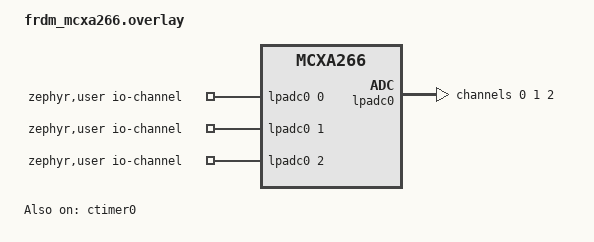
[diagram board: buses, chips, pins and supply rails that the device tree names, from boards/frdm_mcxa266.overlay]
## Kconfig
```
# Copyright 2025 NXP
# SPDX-License-Identifier: Apache-2.0

mainmenu "Safety iec60730b sample application"

menu "Application Safety Configuration"

menu "Safety test thread configuration"

config APP_SAFETY_THREAD_STACK_SIZE
	int "Safety test thread stack size"
	default 1024
	help
	  Stack size in bytes for the safety test thread.
	  This thread runs periodic safety tests and monitors system health.
	  Increase this value if the safety tests require more stack space.

config APP_SAFETY_THREAD_PRIORITY
	int "Safety test thread priority"
	default -16
	help
	  Priority level for the safety test thread.
	  Lower values indicate higher priority.
	  By default set to the absolute highest priority -16 for critical safety functions.

config APP_SAFETY_PERIOD_MS
	int "Safety test execution period in milliseconds"
	default 1000
	help
	  Time period in milliseconds between safety test executions.
	  This determines how frequently the safety tests are run.
	  Shorter periods provide faster error detection but consume more CPU.
	  Longer periods reduce CPU usage but may delay error detection.

menuconfig APP_SAFETY_TASK_WATCHDOG
    bool "Safety Task Watchdog"
    default y
    select TASK_WDT
    select WATCHDOG
    help
      Enable task watchdog for safety monitoring. The task watchdog
      monitors the safety test thread and triggers a callback if
      the thread fails to feed the watchdog within the specified timeout.
      This provides an additional safety mechanism to detect thread
      failures or system hangs.

if APP_SAFETY_TASK_WATCHDOG

config APP_SAFETY_TASK_WATCHDOG_TIMEOUT_MS
    int "Task watchdog timeout in milliseconds"
    default 10000
    help
      Timeout value for the safety task watchdog in milliseconds.
      This should be larger than CONFIG_APP_SAFETY_TESTS_PERIOD_MS
      to allow for test execution time. If the safety thread doesn't
      feed the watchdog within this time, the callback will be triggered.

config TASK_WDT_MIN_TIMEOUT
    int "Minimum task watchdog timeout in milliseconds"
    default 500
    help
      Minimum timeout value accepted by the task watchdog channel.
      Required by the wdt_mcux_wdog hardware watchdog driver backend.
      Minum 500 is required by wdt_mcux_wdog driver.

endif # APP_SAFETY_TASK_WATCHDOG

endmenu # Safety test thread configuration

choice APP_SAFETY_ERROR_ACTION
	prompt "Safety Error Action"
	default APP_SAFETY_ERROR_ACTION_INFINITE_LOOP
	help
	  Select the action to take when a safety error is detected.

config APP_SAFETY_ERROR_ACTION_INFINITE_LOOP
	bool "Infinite Loop"
	help
	  When a safety error is detected, disable interrupts and enter an infinite loop,
	  The system will be stuck in a loop, preventing further execution
	  while maintaining processor activity. This can be useful for
	  debugging or when a controlled hang is preferred over a no action.

config APP_SAFETY_ERROR_ACTION_RESET
	bool "System Reset"
	help
	  When a safety error is detected, immediately perform a cold system reset.
	  This allows for quick recovery from safety violations.

endchoice

if IEC60730B_TEST_RAM

menu "RAM Test Configuration"

config APP_SAFETY_TEST_RAM_BUFFER_SIZE
	int "Safety RAM test buffer size in bytes"
	default 1024
	help
	  Size of the RAM buffer used for safety RAM testing.
	  This buffer is used to perform RAM integrity tests according to IEC60730B.

config APP_SAFETY_TEST_RAM_BACKUP_BUFFER_SIZE
	int "Safety RAM test backup buffer size in bytes"
	default 32
	help
	  Size of the backup buffer used during RAM safety testing.
	  This buffer stores the original data while the main buffer is being tested.

endmenu # RAM Test Configuration

endif # IEC60730B_TEST_RAM

if IEC60730B_TEST_STACK

menu "Stack Test Configuration"

config APP_SAFETY_TEST_STACK_GUARD_SIZE
	int "Stack test guard size for overflow detection"
	default 128
	help
	  Size in bytes of the guard areas placed before and after the stack
	  for overflow detection. The guard areas are filled with a test pattern
	  to detect stack overflow conditions.
	  Must be aligned to pointer size (4 bytes).

config APP_SAFETY_TEST_STACK_GUARD_PATTERN
	hex "Stack test gaurd pattern for overflow detection"
	default 0xA5A5A5A5
	help
	  32-bit pattern used to fill stack guard areas for overflow detection.
	  The pattern should be chosen to be easily detectable when corrupted
	  and unlikely to occur naturally in normal program execution.

endmenu # Stack Test Configuration

endif # IEC60730B_TEST_STACK

config APP_SAFETY_LOG_LEVEL
	int "Safety tests log level"
	default 3
	range 0 4
	depends on LOG
	help
	  Sets the log level for the safety tests module.
	  Levels: 0=OFF, 1=ERROR, 2=WARNING, 3=INFO, 4=DEBUG

config APP_MAIN_LOG_LEVEL
	int "Main application log level"
	default 3
	range 0 4
	depends on LOG
	help
	  Sets the log level for the safety tests module.
	  Levels: 0=OFF, 1=ERROR, 2=WARNING, 3=INFO, 4=DEBUG

config APP_MAIN_SLEEP_TIME_MS
	int "Main thread sleep time in milliseconds"
	default 1000
	help
	  Time in milliseconds that the main thread sleeps between iterations.

endmenu # Application Safety Configuration

menu "Zephyr Kernel Configuration"

source "Kconfig.zephyr"

endmenu # Zephyr Kernel Configuration
```

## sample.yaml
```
sample:
  name: Safety iec60730b Sample
tests:
  sample.iec60730b.safety:
    tags:
      - safety
    integration_platforms:
      - frdm_mcxa156
      - frdm_mcxa266
      - frdm_mcxa344
      - frdm_mcxc444
      - frdm_mcxn947/mcxn947/cpu0
      - frdm_mcxn236
      - frdm_imxrt1186/mimxrt1186/cm33
      - frdm_rw612
      - mimxrt1170_evk/mimxrt1176/cm7
```

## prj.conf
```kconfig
# Enable GPIO driver support, used by the blinky sample
CONFIG_GPIO=y

# Enable IEC 60730 Class B safety library
CONFIG_IEC60730B=y

# Enable logging
CONFIG_LOG=y
CONFIG_LOG_MODE_IMMEDIATE=y
CONFIG_LOG_BACKEND_SHOW_TIMESTAMP=n
CONFIG_LOG_BACKEND_SHOW_LEVEL=n

# You can enable test debug logs
#CONFIG_IEC60730B_TEST_CLOCK_LOG_LEVEL=4
#CONFIG_IEC60730B_TEST_WDOG_LOG_LEVEL=4
#CONFIG_WDT_LOG_LEVEL_DBG=y

# Enable thread monitoring for debugger RTOS view support
CONFIG_THREAD_MONITOR=y
CONFIG_THREAD_NAME=y
CONFIG_THREAD_STACK_INFO=y
CONFIG_THREAD_RUNTIME_STATS=y
CONFIG_INIT_STACKS=y
CONFIG_DEBUG_THREAD_INFO=y

# You can disable Watchdog and Clock test to prevent fail during debugging
#CONFIG_APP_SAFETY_TASK_WATCHDOG=n
#CONFIG_IEC60730B_TEST_CLOCK=n
#CONFIG_IEC60730B_TEST_WDOG=n

# You can use Zephyr HAL
#CONFIG_IEC60730B_HAL_ZEPHYR=y
```

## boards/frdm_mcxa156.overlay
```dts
/*
 * Copyright 2025 NXP
 *
 * SPDX-License-Identifier: Apache-2.0
 */
/ {
	aliases {
		test-counter = &lptmr0;
	};
};

&lptmr0 {
	status = "okay";
};
```

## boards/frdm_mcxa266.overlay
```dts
/*
 * Copyright 2025 NXP
 *
 * SPDX-License-Identifier: Apache-2.0
 */
/{
	aliases {
		test-counter = &ctimer0;
	};

	zephyr,user {
		io-channels = <&lpadc0 0>, <&lpadc0 1>, <&lpadc0 2>;
	};
};

&ctimer0 {
	status = "okay";
};

&lpadc0 {
	status = "okay";
	#address-cells = <1>;
	#size-cells = <0>;

	/* adc channel internal Voltage Low */
	channel_adc_vl: channel@0 {
		reg = <0>;
		zephyr,gain = "ADC_GAIN_1";
		zephyr,reference = "ADC_REF_EXTERNAL0";
		zephyr,vref-mv = <3300>;
		zephyr,acquisition-time = <0>;//ADC_ACQ_TIME_DEFAULT
		zephyr,resolution = <16>;//<12>;
		zephyr,input-positive = <24>;
	};

	/* adc channel internal Voltage High/4 */
	channel_adc_vh: channel@1 {
		reg = <1>;
		zephyr,gain = "ADC_GAIN_1";
		zephyr,reference = "ADC_REF_EXTERNAL0";
		zephyr,vref-mv = <3300>;
		zephyr,acquisition-time = <0>;//ADC_ACQ_TIME_DEFAULT
		zephyr,resolution = <16>;//<12>;
		zephyr,input-positive = <29>;
	};

	/* adc channel internal Band Gap voltage */
	channel_adc_bg: channel@2 {
		reg = <2>;
		zephyr,gain = "ADC_GAIN_1";
		zephyr,reference = "ADC_REF_EXTERNAL0";
		zephyr,vref-mv = <3300>;
		zephyr,acquisition-time = <0>;//ADC_ACQ_TIME_DEFAULT
		zephyr,resolution = <16>;//<12>;
		zephyr,input-positive = <27>;
	};
};
```

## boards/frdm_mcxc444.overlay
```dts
/*
 * Copyright 2025 NXP
 *
 * SPDX-License-Identifier: Apache-2.0
 */
/ {
	aliases {
		test-counter = &lptmr0;
	};
};

&lptmr0 {
	status = "okay";
};

/* COP does not support run-time configuration, so disable it */
&cop {
	status = "disabled";
};
```

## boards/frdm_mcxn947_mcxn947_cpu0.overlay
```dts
/*
 * Copyright 2025 NXP
 *
 * SPDX-License-Identifier: Apache-2.0
 */
/ {
	aliases {
		test-counter = &ctimer0;
	};
};

&ctimer0 {
	status = "okay";
};
```

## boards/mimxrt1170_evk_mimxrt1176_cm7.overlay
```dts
/*
 * Copyright 2025 NXP
 *
 * SPDX-License-Identifier: Apache-2.0
 */
/ {
	aliases {
		test-counter = &gpt2;
	};
};

&gpt2 {
	status = "okay";
};
```

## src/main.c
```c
/*
 * Copyright 2025 NXP
 * SPDX-License-Identifier: Apache-2.0
 *
 * This demo application:
 * - Configuring an LED as output and toggling it periodically.
 * - Configuring a button as input with interrupt handling.
 * - Printing status messages when button is pressed and LED state changes.
 */

#include <stdio.h>
#include <zephyr/kernel.h>
#include <zephyr/drivers/gpio.h>
#include <zephyr/logging/log.h>

/* Register safety_tests module for logging */
LOG_MODULE_REGISTER(main, CONFIG_APP_MAIN_LOG_LEVEL);

/* Get led configuration from the devicetree led0 alias. */
#define LED0_NODE DT_ALIAS(led0)
#if !DT_NODE_HAS_STATUS_OKAY(LED0_NODE)
#error "Unsupported board: led0 devicetree alias is not defined"
#endif
static const struct gpio_dt_spec led = GPIO_DT_SPEC_GET(LED0_NODE, gpios);

/* Get button configuration from the devicetree sw0 alias. */
#define SW0_NODE DT_ALIAS(sw0)
#if !DT_NODE_HAS_STATUS_OKAY(SW0_NODE)
#error "Unsupported board: sw0 devicetree alias is not defined"
#endif
static const struct gpio_dt_spec button = GPIO_DT_SPEC_GET(SW0_NODE, gpios);
static struct gpio_callback button_cb_data;

/* GPIO interrupt callback function for button press events. */
static void button_pressed(const struct device *dev, struct gpio_callback *cb, uint32_t pins)
{
	LOG_INF("Button pressed.");
}

/* System initialization hook for GPIO initialization, to ensure that pins are initialized before
 * safety runtime tests start */
static int main_task_gpio_init(void)
{
	int ret;

	if (!gpio_is_ready_dt(&led)) {
		LOG_ERR("Error: led device %s is not ready", led.port->name);
		return 0;
	}
	if (!gpio_is_ready_dt(&button)) {
		LOG_ERR("Error: button device %s is not ready", button.port->name);
		return 0;
	}

	ret = gpio_pin_configure_dt(&led, GPIO_OUTPUT_ACTIVE);
	if (ret < 0) {
		LOG_ERR("Error %d: failed to configure %s pin %d", ret, led.port->name, led.pin);
		return 0;
	}
	ret = gpio_pin_configure_dt(&button, GPIO_INPUT);
	if (ret != 0) {
		LOG_ERR("Error %d: failed to configure %s pin %d", ret, button.port->name,
			button.pin);
		return 0;
	}

	ret = gpio_pin_interrupt_configure_dt(&button, GPIO_INT_EDGE_TO_ACTIVE);
	if (ret != 0) {
		LOG_ERR("Error %d: failed to configure interrupt on %s pin %d", ret,
			button.port->name, button.pin);
		return 0;
	}

	gpio_init_callback(&button_cb_data, button_pressed, BIT(button.pin));
	gpio_add_callback(button.port, &button_cb_data);
	LOG_INF("Set up button at %s pin %d", button.port->name, button.pin);
	LOG_INF("Set up led at %s pin %d", led.port->name, led.pin);

	return 0;
}
SYS_INIT(main_task_gpio_init, POST_KERNEL, CONFIG_KERNEL_INIT_PRIORITY_DEFAULT);

int main(void)
{
	int ret;
	bool led_state = true;

	while (1) {
		ret = gpio_pin_toggle_dt(&led);
		if (ret < 0) {
			LOG_ERR("Error %d: gpio_pin_toggle_dt() is failed", ret);
			return 0;
		}

		led_state = !led_state;
		LOG_INF("LED state: %s", led_state ? "ON" : "OFF");
		k_msleep(CONFIG_APP_MAIN_SLEEP_TIME_MS);
	}
	return 0;
}
```

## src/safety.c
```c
/*
 * Copyright 2025-2026 NXP
 * SPDX-License-Identifier: Apache-2.0
 *
 * This demo application invokes safety tests according to IEC 60730 Class B.
 * The safety tests are executed in two phases:
 * 1. Startup tests: Critical tests performed during system initialization.
 * 2. Runtime tests: Periodic tests executed by a dedicated safety thread.
 */

#include <iec60730b_test.h>

#include <zephyr/kernel.h>
#include <zephyr/logging/log.h>
#include <zephyr/device.h>
#include <zephyr/drivers/watchdog.h>
#include <zephyr/drivers/gpio.h>
#include <zephyr/drivers/adc.h>
#include <zephyr/task_wdt/task_wdt.h>
#include <zephyr/sys/reboot.h>

/*******************************************************************************
 * Declarations
 ******************************************************************************/
static int safety_init(void);
static void safety_thread(void *arg1, void *arg2, void *arg3);
static void safety_error_handler(int error_code);
static void safety_startup_tests(void);
static void safety_rutime_tests(void);
#ifdef CONFIG_IEC60730B_TEST_AIO
static void enable_bandgap(void);
#endif

/* Register safety_tests module for logging */
LOG_MODULE_REGISTER(safety, CONFIG_APP_SAFETY_LOG_LEVEL);

/* System initialization hook for safety tests after reset. */
SYS_INIT(safety_init, APPLICATION /* POST_KERNEL */, CONFIG_KERNEL_INIT_PRIORITY_DEFAULT);

/*
 * Safety thread stack and creation configuration.
 *
 * When CONFIG_IEC60730B_TEST_STACK is enabled, creates a custom stack with guard zones
 * for stack overflow detection testing. The guard zones provide additional protection
 * by reserving memory before and after the actual thread stack.
 *
 * When disabled, uses the standard Zephyr thread definition macro for simpler
 * thread creation without custom stack management.
 */
#ifdef CONFIG_IEC60730B_TEST_STACK
static K_THREAD_STACK_DEFINE(safety_stack, (CONFIG_APP_SAFETY_THREAD_STACK_SIZE +
					    2 * CONFIG_APP_SAFETY_TEST_STACK_GUARD_SIZE));
#define SAFETY_THREAD_STACK &safety_stack[CONFIG_APP_SAFETY_TEST_STACK_GUARD_SIZE]
#define SAFETY_THREAD_STACK_SIZE                                                                   \
	(sizeof(safety_stack) - 2 * CONFIG_APP_SAFETY_TEST_STACK_GUARD_SIZE)
#define SAFETY_THREAD_STACK_WRITABLE_SIZE                                                          \
	(K_THREAD_STACK_SIZEOF(safety_stack) -                                                     \
	 2 * CONFIG_APP_SAFETY_TEST_STACK_GUARD_SIZE) /* Thread writable stack buffer size */

static struct k_thread safety_thread_data;
static void safety_thread_create(void)
{
	k_tid_t thread_id;

	thread_id = k_thread_create(&safety_thread_data, SAFETY_THREAD_STACK,
				    SAFETY_THREAD_STACK_WRITABLE_SIZE, safety_thread, NULL, NULL,
				    NULL, CONFIG_APP_SAFETY_THREAD_PRIORITY, 0,
				    K_MSEC(CONFIG_APP_SAFETY_PERIOD_MS));

	if (thread_id == NULL) {
		LOG_ERR("Failed to create safety thread");
		safety_error_handler(IEC60730B_TEST_ERROR);
	}

	k_thread_name_set(thread_id, "safety");
}
#else
/* Safety test thread definition and automatic startup configuration. */
K_THREAD_DEFINE(safety, CONFIG_APP_SAFETY_THREAD_STACK_SIZE, safety_thread, NULL, NULL, NULL,
		CONFIG_APP_SAFETY_THREAD_PRIORITY, 0, CONFIG_APP_SAFETY_PERIOD_MS);
#endif /* CONFIG_IEC60730B_TEST_STACK */

int safety_error_code; /* Global error code. */

#ifdef CONFIG_IEC60730B_TEST_RAM
uint8_t safety_test_ram_buffer[CONFIG_APP_SAFETY_TEST_RAM_BUFFER_SIZE] __aligned(4);
uint8_t safety_test_ram_backup_buffer[CONFIG_APP_SAFETY_TEST_RAM_BACKUP_BUFFER_SIZE] __aligned(4);
#endif /* CONFIG_IEC60730B_TEST_RAM */

#ifdef CONFIG_IEC60730B_TEST_FLASH
/* Flash test buffer 1024 bytes */
const uint32_t safety_test_flash_buffer[256] = {
	0x00000001, 0x00000002, 0x00000003, 0x00000004, 0x00000005, 0x00000006, 0x00000007,
	0x00000008, 0x00000009, 0x0000000A, 0x0000000B, 0x0000000C, 0x0000000D, 0x0000000E,
	0x0000000F, 0x00000010, 0x00000011, 0x00000012, 0x00000013, 0x00000014, 0x00000015,
	0x00000016, 0x00000017, 0x00000018, 0x00000019, 0x0000001A, 0x0000001B, 0x0000001C,
	0x0000001D, 0x0000001E, 0x0000001F, 0x00000020, 0x00000021, 0x00000022, 0x00000023,
	0x00000024, 0x00000025, 0x00000026, 0x00000027, 0x00000028, 0x00000029, 0x0000002A,
	0x0000002B, 0x0000002C, 0x0000002D, 0x0000002E, 0x0000002F, 0x00000030, 0x00000031,
	0x00000032, 0x00000033, 0x00000034, 0x00000035, 0x00000036, 0x00000037, 0x00000038,
	0x00000039, 0x0000003A, 0x0000003B, 0x0000003C, 0x0000003D, 0x0000003E, 0x0000003F,
	0x00000040, 0xAAAAAAAA, 0x55555555, 0xAAAAAAAA, 0x55555555, 0xAAAAAAAA, 0x55555555,
	0xAAAAAAAA, 0x55555555, 0xAAAAAAAA, 0x55555555, 0xAAAAAAAA, 0x55555555, 0xAAAAAAAA,
	0x55555555, 0xAAAAAAAA, 0x55555555, 0xAAAAAAAA, 0x55555555, 0xAAAAAAAA, 0x55555555,
	0xAAAAAAAA, 0x55555555, 0xAAAAAAAA, 0x55555555, 0xAAAAAAAA, 0x55555555, 0xAAAAAAAA,
	0x55555555, 0xAAAAAAAA, 0x55555555, 0xAAAAAAAA, 0x55555555, 0xAAAAAAAA, 0x55555555,
	0xAAAAAAAA, 0x55555555, 0xAAAAAAAA, 0x55555555, 0xAAAAAAAA, 0x55555555, 0xAAAAAAAA,
	0x55555555, 0xAAAAAAAA, 0x55555555, 0xAAAAAAAA, 0x55555555, 0xAAAAAAAA, 0x55555555,
	0xAAAAAAAA, 0x55555555, 0xAAAAAAAA, 0x55555555, 0xAAAAAAAA, 0x55555555, 0xAAAAAAAA,
	0x55555555, 0xAAAAAAAA, 0x55555555, 0xAAAAAAAA, 0x55555555, 0xAAAAAAAA, 0x55555555,
	0xAAAAAAAA, 0x55555555, 0x00000001, 0x00000002, 0x00000004, 0x00000008, 0x00000010,
	0x00000020, 0x00000040, 0x00000080, 0x00000100, 0x00000200, 0x00000400, 0x00000800,
	0x00001000, 0x00002000, 0x00004000, 0x00008000, 0x00010000, 0x00020000, 0x00040000,
	0x00080000, 0x00100000, 0x00200000, 0x00400000, 0x00800000, 0x01000000, 0x02000000,
	0x04000000, 0x08000000, 0x10000000, 0x20000000, 0x40000000, 0x80000000, 0x80000000,
	0x40000000, 0x20000000, 0x10000000, 0x08000000, 0x04000000, 0x02000000, 0x01000000,
	0x00800000, 0x00400000, 0x00200000, 0x00100000, 0x00080000, 0x00040000, 0x00020000,
	0x00010000, 0x00008000, 0x00004000, 0x00002000, 0x00001000, 0x00000800, 0x00000400,
	0x00000200, 0x00000100, 0x00000080, 0x00000040, 0x00000020, 0x00000010, 0x00000008,
	0x00000004, 0x00000002, 0x00000001, 0x12345678, 0x9ABCDEF0, 0x13579BDF, 0x2468ACE0,
	0xFEDCBA98, 0x76543210, 0x89ABCDEF, 0x01234567, 0x87654321, 0x0FEDCBA9, 0x13572468,
	0xACE02468, 0x97531BDF, 0x86420ECA, 0x75319FDB, 0x64208EC9, 0x53107FD8, 0x42096EC7,
	0x31085FD6, 0x20074EC5, 0x10963FD4, 0x09852EC3, 0x08741FD2, 0x07630EC1, 0x06521FD0,
	0x05410ECF, 0x04309FDE, 0x03208ECD, 0x02107FDC, 0x01096ECB, 0x00985FDA, 0x00874EC9,
	0x00763FD8, 0x00652EC7, 0x00541FD6, 0x00430EC5, 0x00329FD4, 0x00218EC3, 0x00107FD2,
	0x00096EC1, 0x00085FD0, 0x00074ECF, 0x00063FDE, 0x00052ECD, 0x00041FDC, 0x00030ECB,
	0x00029FDA, 0x00018EC9, 0x00007FD8, 0x00006EC7, 0x00005FD6, 0x00004EC5, 0x00003FD4,
	0x00002EC3, 0x00001FD2, 0x00000EC1, 0x0000FD0F, 0x0000ECFE, 0x0000DFED, 0x0000CEDC,
	0x0000BDCB, 0x0000ACBA, 0x00009BA9, 0x00008A98};

/* Pre-calculated CRC values for the test buffer */
#ifdef CONFIG_IEC60730B_TEST_FLASH_CRC32
#define SAFETY_TEST_FLASH_BUFFER_CRC32 (0x228B7931)
#endif
#ifdef CONFIG_IEC60730B_TEST_FLASH_CRC16
#define SAFETY_TEST_FLASH_BUFFER_CRC16 (0x00F9)
#endif
#endif /* CONFIG_IEC60730B_TEST_FLASH */

#ifdef CONFIG_IEC60730B_TEST_DIO
/* Use the sw0 button configured in main.c */
static const struct gpio_dt_spec test_gpio_input = GPIO_DT_SPEC_GET(DT_ALIAS(sw0), gpios);
/* Use the led0 configured in main.c */
static const struct gpio_dt_spec test_gpio_output = GPIO_DT_SPEC_GET(DT_ALIAS(led0), gpios);
#endif /* CONFIG_IEC60730B_TEST_DIO */

#if defined(CONFIG_IEC60730B_TEST_CLOCK) || defined(CONFIG_IEC60730B_TEST_WDOG)
/* Counter device for clock frequency testing */
static const struct device *test_reference_counter = DEVICE_DT_GET_OR_NULL(DT_ALIAS(test_counter));
#endif /* CONFIG_IEC60730B_TEST_CLOCK */

#ifdef CONFIG_IEC60730B_TEST_AIO
#if !DT_NODE_EXISTS(DT_PATH(zephyr_user)) || !DT_NODE_HAS_PROP(DT_PATH(zephyr_user), io_channels)
static const struct device *test_adc[] = {NULL, NULL, NULL};
static struct iec60730b_adc_channel channel[] = {{0}, {0}, {0}};
static void enable_bandgap(void)
{
	/* Bandgap enabling not supported on this platform */
}
#else
static const struct adc_dt_spec adc_channels[] = {
	/* Channel from DT connected to Low Voltage typically GND (0V) */
	ADC_DT_SPEC_GET_BY_IDX(DT_PATH(zephyr_user), 0),
	/* Channel from DT connected to High Voltage typically 3.3V */
	ADC_DT_SPEC_GET_BY_IDX(DT_PATH(zephyr_user), 1),
	/* Channel from DT connected to BandGap Voltage typically 1.65V */
	ADC_DT_SPEC_GET_BY_IDX(DT_PATH(zephyr_user), 2),
};
static const struct device *test_adc[] = {adc_channels[0].dev, adc_channels[1].dev,
					  adc_channels[2].dev};
static struct iec60730b_adc_channel channel[] = {
	{
		.channel_cfg = adc_channels[0].channel_cfg,
		.vref_mv = adc_channels[0].vref_mv,
		.resolution = adc_channels[0].resolution,
		.allowed_deviation = 5U, /* allowed % of ADC max */
	},
	{
		.channel_cfg = adc_channels[1].channel_cfg,
		.vref_mv = adc_channels[1].vref_mv,
		.resolution = adc_channels[1].resolution,
		.allowed_deviation = 5U, /* allowed % of ADC max */
	},
	{
		.channel_cfg = adc_channels[2].channel_cfg,
		.vref_mv = adc_channels[2].vref_mv,
		.resolution = adc_channels[2].resolution,
		.allowed_deviation = 5U, /* allowed % of ADC max */
	}};
#if CONFIG_DT_HAS_NXP_SPC_ENABLED
/*
 * SDK driver for System-Power-Control needed for using bandgap control.
 */
#include "fsl_spc.h"
/*
 * Enable bandgap voltage reference needed for AIO Test,
 * as one of the measured channel is internal bandgap voltage reference.
 */
static void enable_bandgap(void)
{
	/* Check if SPC instance is valid */
	if (SPC0 != NULL) {
		/* Enable bandgap in active mode with buffer enabled - more stable voltage */
		SPC_SetActiveModeBandgapModeConfig(SPC0, kSPC_BandgapEnabledBufferEnabled);
	}
}
#else
static void enable_bandgap(void)
{
	/* Bandgap enabling not supported on this platform */
}
#endif /* CONFIG_DT_HAS_NXP_SPC_ENABLED */
#endif
#endif /* CONFIG_IEC60730B_TEST_AIO */

#if CONFIG_IEC60730B_TEST_WDOG || CONFIG_APP_SAFETY_TASK_WATCHDOG
/* Watchdog device for watchdog testing */
static const struct device *const test_wdog = DEVICE_DT_GET_OR_NULL(DT_ALIAS(watchdog0));
#endif /* CONFIG_IEC60730B_TEST_WDOG || CONFIG_APP_SAFETY_TASK_WATCHDOG */

/* Task watchdog */
#ifdef CONFIG_APP_SAFETY_TASK_WATCHDOG
static void safety_task_wdt_callback(int channel_id, void *user_data);
static int safety_task_wdt_id = -1;
#endif /* CONFIG_APP_SAFETY_TASK_WATCHDOG */

/*******************************************************************************
 * Code
 ******************************************************************************/

/*
 *  Safety initialization function executed during system startup.
 */
static int safety_init(void)
{
	LOG_INF("Perform startup safety tests:");
	safety_startup_tests();

#ifdef CONFIG_IEC60730B_TEST_STACK
	safety_thread_create();
#endif

	return 0;
}

#ifdef CONFIG_APP_SAFETY_TASK_WATCHDOG
/*
 * Safety task watchdog initialization function executed during system startup.
 */
static void safety_task_wdt_init(void)
{
	int result;

	if (!device_is_ready(test_wdog)) {
		LOG_WRN("Hardware watchdog not ready");
		result = task_wdt_init(NULL);
	} else {
		result = task_wdt_init(test_wdog);
	}

	if (result != 0) {
		LOG_ERR("task wdt init failure: %d\n", result);
		safety_error_handler(IEC60730B_TEST_ERROR);
	}

	/* Add a new task watchdog channel with the safety callback function */
	safety_task_wdt_id = task_wdt_add(CONFIG_APP_SAFETY_TASK_WATCHDOG_TIMEOUT_MS,
					  safety_task_wdt_callback, NULL);
	if (safety_task_wdt_id < 0) {
		LOG_ERR("Failed to add task WDT channel");
		safety_error_handler(IEC60730B_TEST_ERROR);
	}
	LOG_INF("Task WDT channel %d added with timeout %d ms", safety_task_wdt_id,
		CONFIG_APP_SAFETY_TASK_WATCHDOG_TIMEOUT_MS);
}

/*
 * Callback function for task watchdog timeout events.
 */
static void safety_task_wdt_callback(int channel_id, void *user_data)
{
	ARG_UNUSED(user_data);
	LOG_WRN("Task watchdog channel %d timeout", channel_id);

	safety_error_handler(IEC60730B_TEST_WDT_ERROR);
}
#endif /* CONFIG_APP_SAFETY_TASK_WATCHDOG */

/*
 * Safety test thread function that executes periodic runtime safety tests.
 */
static void safety_thread(void *arg1, void *arg2, void *arg3)
{
	ARG_UNUSED(arg1);
	ARG_UNUSED(arg2);
	ARG_UNUSED(arg3);

	LOG_INF("Safety test thread started");

	/* Thread function runs indefinitely */
	while (1) {
		/* Perform runtime safety tests */
		safety_rutime_tests();

		/* Sleep before next iteration */
		k_msleep(CONFIG_APP_SAFETY_PERIOD_MS);
	}
}

/*
 * Safety error handling
 */
static void safety_error_handler(int error_code)
{
	safety_error_code = error_code;
	LOG_ERR("Safety error detected: %d", safety_error_code);

#ifdef CONFIG_APP_SAFETY_ERROR_ACTION_INFINITE_LOOP
	LOG_INF("Entering infinite loop");
	(void)irq_lock(); /* Disable interrupts */
	while (1) {
#ifdef CONFIG_APP_SAFETY_TASK_WATCHDOG
		task_wdt_feed(safety_task_wdt_id);
#endif /* CONFIG_APP_SAFETY_TASK_WATCHDOG */
	}
#elif defined(CONFIG_APP_SAFETY_ERROR_ACTION_RESET)
	LOG_INF("Performing immediate cold reset");
	sys_reboot(SYS_REBOOT_COLD);
#endif
}

/*
 * Handles the result of a safety test execution.
 */
static void safety_test_result_handler(int result, const char *test_name)
{
	/*
	 * If failed, invoke the error handler. Otherwise, log the test result
	 * as either PASS or SKIP.
	 */
	if (result < 0) {
		LOG_ERR("- FAIL - %s", test_name);
		safety_error_handler(result);
	} else if (result == IEC60730B_TEST_OK) {
		LOG_INF("- PASS - %s", test_name);
	} else {
		LOG_WRN("- SKIP - %s", test_name);
	}
}

/*******************************************************************************
 * ADD YOUR SAFETY TESTS HERE
 ******************************************************************************/
/*
 * Executes safety tests during system startup.
 *
 * This function performs various safety tests that are required to be executed
 * during system initialization.
 * If any test fails, the safety error handling mechanism is invoked.
 */
static void safety_startup_tests(void)
{
	int result;

	LOG_INF("== Executing Start-up tests ==");

#ifdef CONFIG_IEC60730B_TEST_CPU
	result = iec60730b_test_cpu();
	safety_test_result_handler(result, "CPU Registers test");
#endif /* CONFIG_IEC60730B_TEST_CPU */

#ifdef CONFIG_IEC60730B_TEST_FPU
	result = iec60730b_test_fpu();
	safety_test_result_handler(result, "FPU Registers test");
#endif /* CONFIG_IEC60730B_TEST_FPU */

#ifdef CONFIG_IEC60730B_TEST_RAM
	result = iec60730b_test_ram_march_c(safety_test_ram_buffer, sizeof(safety_test_ram_buffer),
				       safety_test_ram_backup_buffer,
				       sizeof(safety_test_ram_backup_buffer));
	safety_test_result_handler(result, "RAM MARCH C test");
#endif /* CONFIG_IEC60730B_TEST_RAM */

#ifdef CONFIG_IEC60730B_TEST_PC
	result = iec60730b_test_pc();
	safety_test_result_handler(result, "PC test");
#endif /* CONFIG_IEC60730B_TEST_PC */

#ifdef CONFIG_IEC60730B_TEST_FLASH
#ifdef CONFIG_IEC60730B_TEST_FLASH_CRC16
	result = iec60730b_test_flash_crc16(safety_test_flash_buffer,
					    sizeof(safety_test_flash_buffer),
					    SAFETY_TEST_FLASH_BUFFER_CRC16);
	safety_test_result_handler(result, "Flash CRC16 test");
#endif /* CONFIG_IEC60730B_TEST_FLASH_CRC16 */

#ifdef CONFIG_IEC60730B_TEST_FLASH_CRC32
	result = iec60730b_test_flash_crc32(safety_test_flash_buffer,
					    sizeof(safety_test_flash_buffer),
					    SAFETY_TEST_FLASH_BUFFER_CRC32);
	safety_test_result_handler(result, "Flash CRC32 test");
#endif /* CONFIG_IEC60730B_TEST_FLASH_CRC32 */
#endif /* CONFIG_IEC60730B_TEST_FLASH */

#ifdef CONFIG_IEC60730B_TEST_WDOG
	/* It must run before TEST_CLOCK and APP_SAFETY_TASK_WATCHDOG */
	if (device_is_ready(test_wdog) && device_is_ready(test_reference_counter)) {
		result = iec60730b_test_wdog(test_wdog, 1000 /* ms */, test_reference_counter,
					     20 /* % */);
		safety_test_result_handler(result, "Watchdog test");
	}
#endif /* CONFIG_IEC60730B_TEST_WDOG */

#ifdef CONFIG_IEC60730B_TEST_STACK
	result = iec60730b_test_stack_init(SAFETY_THREAD_STACK, SAFETY_THREAD_STACK_SIZE,
					   CONFIG_APP_SAFETY_TEST_STACK_GUARD_SIZE,
					   CONFIG_APP_SAFETY_TEST_STACK_GUARD_PATTERN);
	safety_test_result_handler(result, "Stack test initialization");
#endif /* CONFIG_IEC60730B_TEST_STACK */

#ifdef CONFIG_IEC60730B_TEST_CLOCK
	if (device_is_ready(test_reference_counter)) {
		result = iec60730b_test_clock_init(test_reference_counter, 1000 /* ms */,
						   20 /* % */);
		safety_test_result_handler(result, "Clock test initialization");
	}
#endif /* CONFIG_IEC60730B_TEST_CLOCK */

#ifdef CONFIG_IEC60730B_TEST_AIO
	if (device_is_ready(test_adc[0])) {
		/* Init ADC channel with expected voltage in mV */
		result = iec60730b_aio_init_channel(test_adc[0], &channel[0], 0U);
		safety_test_result_handler(result, "AIO init VL");
		/* Measuring channel with VREFL signal voltage connected */
		result = iec60730b_test_aio(test_adc[0], &channel[0]);
		safety_test_result_handler(result, "AIO test VL");
	}

	if (device_is_ready(test_adc[1])) {
		/* Init ADC channel with expected voltage in mV */
		result = iec60730b_aio_init_channel(test_adc[1], &channel[1], 825U);
		safety_test_result_handler(result, "AIO init VH");
		/* Measuring channel with VREFH/4 signal voltage connected */
		/* If your device has a lower reference voltage, adjust the value accordingly */
		result = iec60730b_test_aio(test_adc[1], &channel[1]);
		safety_test_result_handler(result, "AIO test VH");
	}

	if (device_is_ready(test_adc[2])) {
		/* Enable internal bandgap voltage reference for analog measurement,
		 * check datasheet for device specific bandgap voltage value */
		enable_bandgap();
		/* Init ADC channel with expected voltage in mV */
		result = iec60730b_aio_init_channel(test_adc[2], &channel[2], 1000U);
		safety_test_result_handler(result, "AIO init BG");
		/* Measuring channel with BandGap signal voltage connected */
		/* If your device has a lower reference voltage, adjust the value accordingly */
		result = iec60730b_test_aio(test_adc[2], &channel[2]);
		safety_test_result_handler(result, "AIO test BG");
	}
#endif /* CONFIG_IEC60730B_TEST_AIO */

/* Task watchdog initialization for run-time safety test monitoring */
#ifdef CONFIG_APP_SAFETY_TASK_WATCHDOG
	safety_task_wdt_init();
#endif /* CONFIG_APP_SAFETY_TASK_WATCHDOG */
}

/*
 * Executes safety tests during system runtime.
 *
 * This function performs various safety tests that are required to be executed
 * during normal system operation.
 * If any test fails, the safety error handling mechanism is invoked.
 */
static void safety_rutime_tests(void)
{
	int result;

	LOG_INF("== Executing Run-time tests ==");

#ifdef CONFIG_IEC60730B_TEST_CPU
	result = iec60730b_test_cpu();
	safety_test_result_handler(result, "CPU Registers test");
#endif /* CONFIG_IEC60730B_TEST_CPU */

#ifdef CONFIG_IEC60730B_TEST_FPU
	result = iec60730b_test_fpu();
	safety_test_result_handler(result, "FPU Registers test");
#endif /* CONFIG_IEC60730B_TEST_FPU */

#ifdef CONFIG_IEC60730B_TEST_RAM
	result = iec60730b_test_ram_march_x(safety_test_ram_buffer, sizeof(safety_test_ram_buffer),
				       safety_test_ram_backup_buffer,
				       sizeof(safety_test_ram_backup_buffer));
	safety_test_result_handler(result, "RAM MARCH X test");
#endif /* CONFIG_IEC60730B_TEST_RAM */

#ifdef CONFIG_IEC60730B_TEST_PC
	result = iec60730b_test_pc();
	safety_test_result_handler(result, "PC test");
#endif /* CONFIG_IEC60730B_TEST_PC */

#ifdef CONFIG_IEC60730B_TEST_STACK
	result = iec60730b_test_stack(SAFETY_THREAD_STACK, SAFETY_THREAD_STACK_SIZE,
				      CONFIG_APP_SAFETY_TEST_STACK_GUARD_SIZE,
				      CONFIG_APP_SAFETY_TEST_STACK_GUARD_PATTERN);
	safety_test_result_handler(result, "Stack test");
#endif /* CONFIG_IEC60730B_TEST_STACK */

#ifdef CONFIG_IEC60730B_TEST_FLASH
#ifdef CONFIG_IEC60730B_TEST_FLASH_CRC16
	result = iec60730b_test_flash_crc16(safety_test_flash_buffer,
					    sizeof(safety_test_flash_buffer),
					    SAFETY_TEST_FLASH_BUFFER_CRC16);
	safety_test_result_handler(result, "Flash CRC16 test");
#endif /* CONFIG_IEC60730B_TEST_FLASH_CRC16 */

#ifdef CONFIG_IEC60730B_TEST_FLASH_CRC32
	result = iec60730b_test_flash_crc32(safety_test_flash_buffer,
					    sizeof(safety_test_flash_buffer),
					    SAFETY_TEST_FLASH_BUFFER_CRC32);
	safety_test_result_handler(result, "Flash CRC32 test");
#endif /* CONFIG_IEC60730B_TEST_FLASH_CRC32 */
#endif /* CONFIG_IEC60730B_TEST_FLASH */

#ifdef CONFIG_IEC60730B_TEST_DIO
	/*
	 * The DIO input self-test compares the raw pin level against the expected
	 * value, so the expected value must be the pin's idle (inactive) level.
	 * NOTE: Test fails if the sw0 button is pressed & held.
	 */
	result = iec60730b_test_dio_input(test_gpio_input.port, test_gpio_input.pin,
					 (test_gpio_input.dt_flags & GPIO_ACTIVE_LOW) ? 1 : 0);
	safety_test_result_handler(result, "DIO Input test");

	result = iec60730b_test_dio_output(test_gpio_output.port, test_gpio_output.pin);
	safety_test_result_handler(result, "DIO Output test");
#endif /* CONFIG_IEC60730B_TEST_DIO */

#ifdef CONFIG_IEC60730B_TEST_CLOCK
	if (device_is_ready(test_reference_counter)) {
		result = iec60730b_test_clock();
		safety_test_result_handler(result, "Clock test");
	}
#endif /* CONFIG_IEC60730B_TEST_FLASH */

#ifdef CONFIG_IEC60730B_TEST_AIO
	if (device_is_ready(test_adc[0])) {
		/* Measuring channel with VREFL signal voltage connected */
		result = iec60730b_test_aio(test_adc[0], &channel[0]);
		safety_test_result_handler(result, "AIO test VL");
	}

	if (device_is_ready(test_adc[1])) {
		/* Measuring channel with VREFH/4 signal voltage connected */
		/* If your device has a lower reference voltage, adjust the value accordingly */
		result = iec60730b_test_aio(test_adc[1], &channel[1]);
		safety_test_result_handler(result, "AIO test VH");
	}

	if (device_is_ready(test_adc[2])) {
		/* Measuring channel with BandGap signal voltage connected */
		/* If your device has a lower reference voltage, adjust the value accordingly */
		result = iec60730b_test_aio(test_adc[2], &channel[2]);
		safety_test_result_handler(result, "AIO test BG");
	}
#endif /* CONFIG_IEC60730B_TEST_AIO */

#ifdef CONFIG_APP_SAFETY_TASK_WATCHDOG
	task_wdt_feed(safety_task_wdt_id);
#endif
}
```
